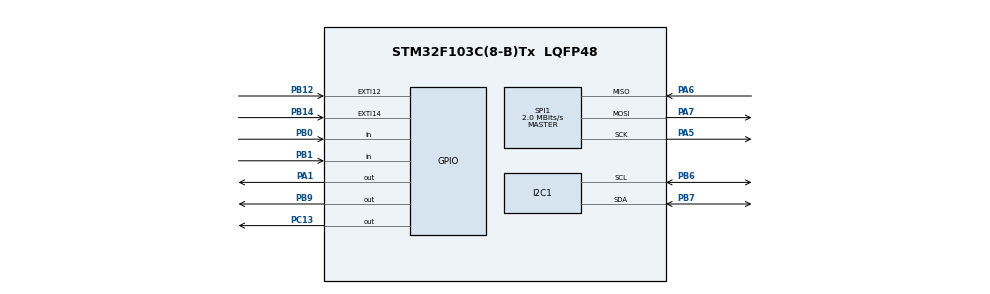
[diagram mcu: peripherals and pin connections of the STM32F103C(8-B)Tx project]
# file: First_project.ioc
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FREERTOS.Tasks01=sensor_task,24,320,sensor_task,Default,NULL,Dynamic,NULL,NULL;ui_task,16,384,ui_task,Default,NULL,Dynamic,NULL,NULL;storage_task,16,320,storage_task,Default,NULL,Dynamic,NULL,NULL;log_task,8,384,log_task,Default,NULL,Dynamic,NULL,NULL
FREERTOS.configTOTAL_HEAP_SIZE=10240
Mcu.Family=STM32F1
Mcu.Name=STM32F103C(8-B)Tx
Mcu.Package=LQFP48
NVIC.EXTI15_10_IRQn=true\:5\:0\:false\:false\:true\:true\:true\:true\:true
NVIC.PriorityGroup=NVIC_PRIORITYGROUP_4
NVIC.TIM4_IRQn=true\:15\:0\:false\:false\:true\:false\:false\:true\:true
NVIC.TimeBase=TIM4_IRQn
NVIC.TimeBaseIP=TIM4
PA1.GPIO_ModeDefaultOutputPP=GPIO_MODE_OUTPUT_OD
PA1.GPIO_PuPd=GPIO_PULLUP
PA1.Signal=GPIO_Output
PA13.Mode=Serial_Wire
PA13.Signal=SYS_JTMS-SWDIO
PA14.Mode=Serial_Wire
PA14.Signal=SYS_JTCK-SWCLK
PA5.Mode=Full_Duplex_Master
PA5.Signal=SPI1_SCK
PA6.Mode=Full_Duplex_Master
PA6.Signal=SPI1_MISO
PA7.Mode=Full_Duplex_Master
PA7.Signal=SPI1_MOSI
PB0.Signal=GPIO_Input
PB1.Signal=GPIO_Input
PB12.Signal=GPXTI12
PB14.GPIO_ModeDefaultEXTI=GPIO_MODE_IT_RISING_FALLING
PB14.GPIO_PuPd=GPIO_PULLUP
PB14.Signal=GPXTI14
PB6.Mode=I2C
PB6.Signal=I2C1_SCL
PB7.Mode=I2C
PB7.Signal=I2C1_SDA
PB9.Signal=GPIO_Output
PC13-TAMPER-RTC.Signal=GPIO_Output
ProjectManager.HeapSize=0x200
ProjectManager.StackSize=0x400
ProjectManager.TargetToolchain=CMake
RCC.APB1Freq_Value=8000000
RCC.APB2Freq_Value=8000000
SPI1.BaudRatePrescaler=SPI_BAUDRATEPRESCALER_4
SPI1.CalculateBaudRate=2.0 MBits/s
SPI1.Direction=SPI_DIRECTION_2LINES
SPI1.Mode=SPI_MODE_MASTER
SPI1.VirtualType=VM_MASTER
VP_FREERTOS_VS_CMSIS_V2.Mode=CMSIS_V2
VP_SYS_VS_tim4.Mode=TIM4
board=custom

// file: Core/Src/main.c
/* USER CODE BEGIN Header */
/**
  ******************************************************************************
  * @file           : main.c
  * @brief          : Main program body
  ******************************************************************************
  * @attention
  *
  * Copyright (c) 2026 STMicroelectronics.
  * All rights reserved.
  *
  * This software is licensed under terms that can be found in the LICENSE file
  * in the root directory of this software component.
  * If no LICENSE file comes with this software, it is provided AS-IS.
  *
  ******************************************************************************
  */
/* USER CODE END Header */
#include "main.h"
#include "cmsis_os.h"

I2C_HandleTypeDef hi2c1;

SPI_HandleTypeDef hspi1;

void SystemClock_Config(void);
static void MX_GPIO_Init(void);
static void MX_I2C1_Init(void);
static void MX_SPI1_Init(void);
/* USER CODE BEGIN PFP */
void MX_FREERTOS_Init(void);

/* USER CODE END PFP */

int main(void)
{

  /* MCU Configuration--------------------------------------------------------*/

  /* Reset of all peripherals, Initializes the Flash interface and the Systick. */
  HAL_Init();

  /* Configure the system clock */
  SystemClock_Config();

  /* Initialize all configured peripherals */
  MX_GPIO_Init();
  MX_I2C1_Init();
  MX_SPI1_Init();

  /* Init scheduler */
  osKernelInitialize();

  /* USER CODE BEGIN RTOS_THREADS */
  MX_FREERTOS_Init();
  /* USER CODE END RTOS_THREADS */

  /* Start scheduler */
  osKernelStart();

  /* We should never get here as control is now taken by the scheduler */

  /* Infinite loop */
  while (1)
  {

  }
}

void SystemClock_Config(void)
{
  RCC_OscInitTypeDef RCC_OscInitStruct = {0};
  RCC_ClkInitTypeDef RCC_ClkInitStruct = {0};

  /** Initializes the RCC Oscillators according to the specified parameters
  * in the RCC_OscInitTypeDef structure.
  */
  RCC_OscInitStruct.OscillatorType = RCC_OSCILLATORTYPE_HSI;
  RCC_OscInitStruct.HSIState = RCC_HSI_ON;
  RCC_OscInitStruct.HSICalibrationValue = RCC_HSICALIBRATION_DEFAULT;
  RCC_OscInitStruct.PLL.PLLState = RCC_PLL_NONE;
  if (HAL_RCC_OscConfig(&RCC_OscInitStruct) != HAL_OK)
  {
    Error_Handler();
  }

  /** Initializes the CPU, AHB and APB buses clocks
  */
  RCC_ClkInitStruct.ClockType = RCC_CLOCKTYPE_HCLK|RCC_CLOCKTYPE_SYSCLK
                              |RCC_CLOCKTYPE_PCLK1|RCC_CLOCKTYPE_PCLK2;
  RCC_ClkInitStruct.SYSCLKSource = RCC_SYSCLKSOURCE_HSI;
  RCC_ClkInitStruct.AHBCLKDivider = RCC_SYSCLK_DIV1;
  RCC_ClkInitStruct.APB1CLKDivider = RCC_HCLK_DIV1;
  RCC_ClkInitStruct.APB2CLKDivider = RCC_HCLK_DIV1;

  if (HAL_RCC_ClockConfig(&RCC_ClkInitStruct, FLASH_LATENCY_0) != HAL_OK)
  {
    Error_Handler();
  }
}

static void MX_I2C1_Init(void)
{

  hi2c1.Instance = I2C1;
  hi2c1.Init.ClockSpeed = 100000;
  hi2c1.Init.DutyCycle = I2C_DUTYCYCLE_2;
  hi2c1.Init.OwnAddress1 = 0;
  hi2c1.Init.AddressingMode = I2C_ADDRESSINGMODE_7BIT;
  hi2c1.Init.DualAddressMode = I2C_DUALADDRESS_DISABLE;
  hi2c1.Init.OwnAddress2 = 0;
  hi2c1.Init.GeneralCallMode = I2C_GENERALCALL_DISABLE;
  hi2c1.Init.NoStretchMode = I2C_NOSTRETCH_DISABLE;
  if (HAL_I2C_Init(&hi2c1) != HAL_OK)
  {
    Error_Handler();
  }

}

static void MX_SPI1_Init(void)
{

  /* SPI1 parameter configuration*/
  hspi1.Instance = SPI1;
  hspi1.Init.Mode = SPI_MODE_MASTER;
  hspi1.Init.Direction = SPI_DIRECTION_2LINES;
  hspi1.Init.DataSize = SPI_DATASIZE_8BIT;
  hspi1.Init.CLKPolarity = SPI_POLARITY_LOW;
  hspi1.Init.CLKPhase = SPI_PHASE_1EDGE;
  hspi1.Init.NSS = SPI_NSS_SOFT;
  hspi1.Init.BaudRatePrescaler = SPI_BAUDRATEPRESCALER_4;
  hspi1.Init.FirstBit = SPI_FIRSTBIT_MSB;
  hspi1.Init.TIMode = SPI_TIMODE_DISABLE;
  hspi1.Init.CRCCalculation = SPI_CRCCALCULATION_DISABLE;
  hspi1.Init.CRCPolynomial = 10;
  if (HAL_SPI_Init(&hspi1) != HAL_OK)
  {
    Error_Handler();
  }

}

static void MX_GPIO_Init(void)
{
  GPIO_InitTypeDef GPIO_InitStruct = {0};

  /* GPIO Ports Clock Enable */
  __HAL_RCC_GPIOC_CLK_ENABLE();
  __HAL_RCC_GPIOA_CLK_ENABLE();
  __HAL_RCC_GPIOB_CLK_ENABLE();

  /*Configure GPIO pin Output Level */
  HAL_GPIO_WritePin(GPIOC, GPIO_PIN_13, GPIO_PIN_RESET);

  /*Configure GPIO pin Output Level */
  HAL_GPIO_WritePin(GPIOA, GPIO_PIN_1, GPIO_PIN_RESET);

  /*Configure GPIO pin Output Level */
  HAL_GPIO_WritePin(GPIOB, GPIO_PIN_9, GPIO_PIN_RESET);

  /*Configure GPIO pin : PC13 */
  GPIO_InitStruct.Pin = GPIO_PIN_13;
  GPIO_InitStruct.Mode = GPIO_MODE_OUTPUT_PP;
  GPIO_InitStruct.Pull = GPIO_NOPULL;
  GPIO_InitStruct.Speed = GPIO_SPEED_FREQ_LOW;
  HAL_GPIO_Init(GPIOC, &GPIO_InitStruct);

  /*Configure GPIO pin : PA1 */
  GPIO_InitStruct.Pin = GPIO_PIN_1;
  GPIO_InitStruct.Mode = GPIO_MODE_OUTPUT_OD;
  GPIO_InitStruct.Pull = GPIO_PULLUP;
  GPIO_InitStruct.Speed = GPIO_SPEED_FREQ_LOW;
  HAL_GPIO_Init(GPIOA, &GPIO_InitStruct);

  /*Configure GPIO pins : PB0 PB1 */
  GPIO_InitStruct.Pin = GPIO_PIN_0|GPIO_PIN_1;
  GPIO_InitStruct.Mode = GPIO_MODE_INPUT;
  GPIO_InitStruct.Pull = GPIO_NOPULL;
  HAL_GPIO_Init(GPIOB, &GPIO_InitStruct);

  /*Configure GPIO pin : PB12 */
  GPIO_InitStruct.Pin = GPIO_PIN_12;
  GPIO_InitStruct.Mode = GPIO_MODE_IT_RISING;
  GPIO_InitStruct.Pull = GPIO_NOPULL;
  HAL_GPIO_Init(GPIOB, &GPIO_InitStruct);

  /*Configure GPIO pin : PB14 */
  GPIO_InitStruct.Pin = GPIO_PIN_14;
  GPIO_InitStruct.Mode = GPIO_MODE_IT_RISING_FALLING;
  GPIO_InitStruct.Pull = GPIO_PULLUP;
  HAL_GPIO_Init(GPIOB, &GPIO_InitStruct);

  /*Configure GPIO pin : PB9 */
  GPIO_InitStruct.Pin = GPIO_PIN_9;
  GPIO_InitStruct.Mode = GPIO_MODE_OUTPUT_PP;
  GPIO_InitStruct.Pull = GPIO_NOPULL;
  GPIO_InitStruct.Speed = GPIO_SPEED_FREQ_LOW;
  HAL_GPIO_Init(GPIOB, &GPIO_InitStruct);

  /* EXTI interrupt init*/
  HAL_NVIC_SetPriority(EXTI15_10_IRQn, 5, 0);
  HAL_NVIC_EnableIRQ(EXTI15_10_IRQn);

  /* USER CODE BEGIN MX_GPIO_Init_2 */
  HAL_NVIC_SetPriority(EXTI15_10_IRQn, 5, 0);
  HAL_NVIC_EnableIRQ(EXTI15_10_IRQn);

  /* USER CODE END MX_GPIO_Init_2 */
}

void HAL_TIM_PeriodElapsedCallback(TIM_HandleTypeDef *htim)
{
  if (htim->Instance == TIM4)
  {
    HAL_IncTick();
  }
}

void Error_Handler(void)
{
  __disable_irq();
  while (1)
  {
  }
}

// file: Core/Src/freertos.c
/* USER CODE BEGIN Header */
/**
  ******************************************************************************
  * File Name          : freertos.c
  * Description        : Code for freertos applications
  ******************************************************************************
  * @attention
  *
  * Copyright (c) 2026 STMicroelectronics.
  * All rights reserved.
  *
  * This software is licensed under terms that can be found in the LICENSE file
  * in the root directory of this software component.
  * If no LICENSE file comes with this software, it is provided AS-IS.
  *
  ******************************************************************************
  */
/* USER CODE END Header */

#include "FreeRTOS.h"
#include "task.h"
#include "main.h"

/* USER CODE BEGIN Includes */
#include "app_main.h"
/* USER CODE END Includes */

/* USER CODE BEGIN Variables */
osMessageQueueId_t sample_queue;
osMessageQueueId_t log_queue;
osMessageQueueId_t storage_queue;
osMutexId_t config_mutex;
osTimerId_t save_timer;

osThreadId_t sensor_task_handle;
osThreadId_t ui_task_handle;
osThreadId_t storage_task_handle;
osThreadId_t log_task_handle;

const osThreadAttr_t sensor_task_attributes = {
  .name = "sensor_task",
  .stack_size = 320 * 4,
  .priority = (osPriority_t) osPriorityNormal,
};

const osThreadAttr_t ui_task_attributes = {
  .name = "ui_task",
  .stack_size = 384 * 4,
  .priority = (osPriority_t) osPriorityBelowNormal,
};

const osThreadAttr_t storage_task_attributes = {
  .name = "storage_task",
  .stack_size = 320 * 4,
  .priority = (osPriority_t) osPriorityBelowNormal,
};

const osThreadAttr_t log_task_attributes = {
  .name = "log_task",
  .stack_size = 384 * 4,
  .priority = (osPriority_t) osPriorityLow,
};

/* USER CODE END Variables */

/* USER CODE BEGIN Application */
void MX_FREERTOS_Init(void)
{
  AppRtosObjects app_objects;

  sample_queue = osMessageQueueNew(4U, sizeof(AppSample), NULL);
  log_queue = osMessageQueueNew(12U, sizeof(AppLogMessage), NULL);
  storage_queue = osMessageQueueNew(2U, sizeof(AppConfig), NULL);
  config_mutex = osMutexNew(NULL);
  save_timer = osTimerNew(save_timer_callback, osTimerOnce, NULL, NULL);

  if ((sample_queue == NULL) ||
      (log_queue == NULL) ||
      (storage_queue == NULL) ||
      (config_mutex == NULL) ||
      (save_timer == NULL))
  {
    Error_Handler();
  }

  app_objects.sample_queue = sample_queue;
  app_objects.log_queue = log_queue;
  app_objects.storage_queue = storage_queue;
  app_objects.config_mutex = config_mutex;
  app_objects.save_timer = save_timer;
  App_Main(&app_objects);

  log_task_handle = osThreadNew(log_task, NULL, &log_task_attributes);
  storage_task_handle = osThreadNew(storage_task, NULL, &storage_task_attributes);
  ui_task_handle = osThreadNew(ui_task, NULL, &ui_task_attributes);
  sensor_task_handle = osThreadNew(sensor_task, NULL, &sensor_task_attributes);

  if ((log_task_handle == NULL) ||
      (storage_task_handle == NULL) ||
      (ui_task_handle == NULL) ||
      (sensor_task_handle == NULL))
  {
    Error_Handler();
  }

  App_SetSensorTaskHandle(sensor_task_handle);
}

/* USER CODE END Application */
